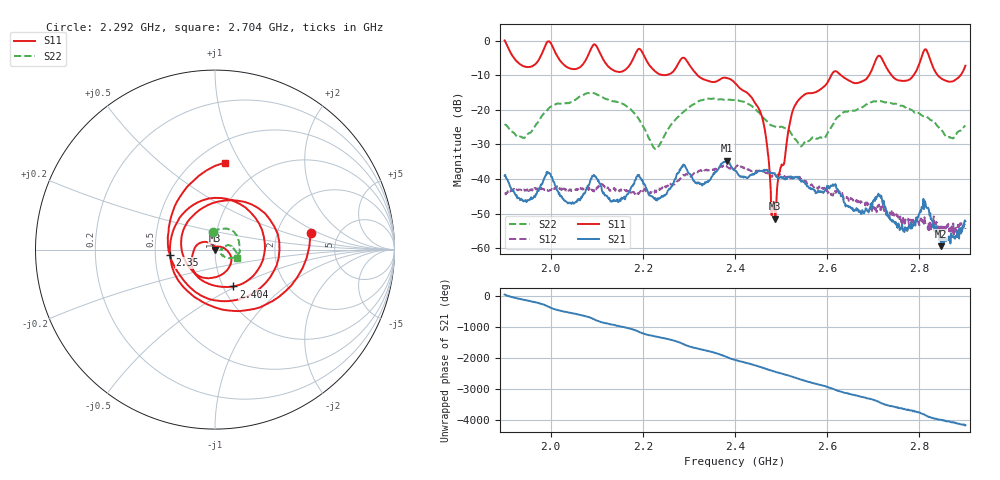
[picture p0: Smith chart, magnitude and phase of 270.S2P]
! C:\Users\rflab\Downloads\Lab5_KD_ZW\270.S2P
! Touchstone 1.1 file saved by VNA.EXE V1.65 (www.ke5fx.com/gpib/readme.htm)
! 11/12/2024 12:27:47 AM
!  Source: HEWLETT PACKARD,8753D,0,6.14
!  Min freq: 1.900000E+009 Hz
!  Max freq: 2.900000E+009 Hz
!  Points: 801
!  Params: S11 S21 S12 S22
# GHZ S RI R 50
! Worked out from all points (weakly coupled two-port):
!   801 points, 1.9 GHz to 2.9 GHz, reference 50 ohm
!   highest |S21| = -34.76 dB at 2.382 GHz (marker M1); lowest = -59.4 dB at 2.848 GHz (marker M2)
!   lowest |S11| = -51.5 dB at 2.487 GHz (marker M3), VSWR 1.01, Z = 49.9 - j0.236 ohm
!   |S11| at or under -10 dB: 2.318 GHz to 2.609 GHz (290.7 MHz wide, 11.8 % of centre); 2.63 GHz to 2.691 GHz (61.54 MHz wide, 2.31 % of centre); 2.84 GHz to 2.89 GHz (50.02 MHz wide, 1.75 % of centre) (the widest 3 of 5)
!   |S22| runs from -31.4 to -15.2 dB; largest |S21 - S12| = 0.0059
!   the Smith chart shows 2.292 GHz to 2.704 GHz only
!   S11 on the Smith chart (normalised r, x): 2.292 GHz: 3.12, +0.80; 2.35 GHz: 0.60, -0.04; 2.404 GHz: 1.12, -0.48; 2.704 GHz: 0.68, +0.86
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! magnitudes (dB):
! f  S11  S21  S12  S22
! 1.9 GHz  0.0  -39.1  -44.1  -24.2
! 1.942 GHz  -7.5  -46.3  -43.0  -28.2
! 1.995 GHz  -0.2  -38.4  -43.4  -19.7
! 2.067 GHz  -7.2  -45.4  -42.9  -15.9
! 2.192 GHz  -2.4  -39.2  -43.9  -23.0
! 2.234 GHz  -9.6  -45.6  -42.9  -30.7
! 2.292 GHz  -5.3  -36.6  -38.7  -20.1
! 2.35 GHz  -12.0  -39.4  -37.5  -16.8
! 2.382 GHz  -10.9  -34.8  -36.5  -17.2
! 2.4 GHz  -12.2  -37.6  -37.1  -17.2
! 2.404 GHz  -12.8  -38.0  -36.3  -17.2
! 2.456 GHz  -21.1  -37.7  -37.6  -21.5
! 2.482 GHz  -47.9  -38.3  -39.2  -24.6
! 2.487 GHz  -51.5  -39.0  -39.0  -24.9
! 2.526 GHz  -19.9  -39.6  -39.5  -27.9
! 2.567 GHz  -15.2  -42.8  -41.8  -28.0
! 2.704 GHz  -6.2  -46.4  -48.9  -17.6
! 2.734 GHz  -9.0  -51.2  -49.7  -17.9
! 2.777 GHz  -11.3  -53.5  -53.2  -19.8
! 2.814 GHz  -2.6  -47.4  -53.2  -21.9
! 2.848 GHz  -10.9  -59.4  -53.5  -25.6
! 2.9 GHz  -7.3  -52.2  -54.5  -24.6
